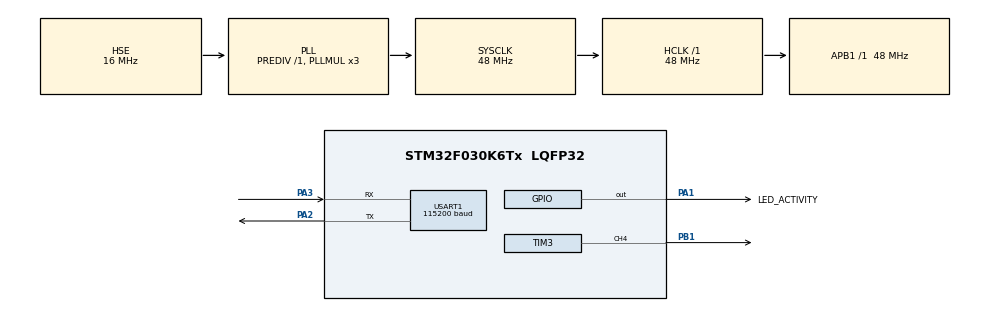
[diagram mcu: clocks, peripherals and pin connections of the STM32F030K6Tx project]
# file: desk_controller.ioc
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Dma.Request0=TIM3_CH4/UP
Dma.Request1=USART1_RX
Dma.Request2=USART1_TX
Dma.TIM3_CH4/UP.0.Direction=DMA_MEMORY_TO_PERIPH
Dma.TIM3_CH4/UP.0.Instance=DMA1_Channel3
Dma.TIM3_CH4/UP.0.MemDataAlignment=DMA_MDATAALIGN_HALFWORD
Dma.TIM3_CH4/UP.0.MemInc=DMA_MINC_ENABLE
Dma.TIM3_CH4/UP.0.Mode=DMA_NORMAL
Dma.TIM3_CH4/UP.0.PeriphDataAlignment=DMA_PDATAALIGN_HALFWORD
Dma.TIM3_CH4/UP.0.PeriphInc=DMA_PINC_DISABLE
Dma.TIM3_CH4/UP.0.Priority=DMA_PRIORITY_LOW
Dma.USART1_RX.1.Direction=DMA_PERIPH_TO_MEMORY
Dma.USART1_RX.1.Instance=DMA1_Channel5
Dma.USART1_RX.1.MemDataAlignment=DMA_MDATAALIGN_BYTE
Dma.USART1_RX.1.MemInc=DMA_MINC_ENABLE
Dma.USART1_RX.1.Mode=DMA_CIRCULAR
Dma.USART1_RX.1.PeriphDataAlignment=DMA_PDATAALIGN_BYTE
Dma.USART1_RX.1.PeriphInc=DMA_PINC_DISABLE
Dma.USART1_RX.1.Priority=DMA_PRIORITY_HIGH
Dma.USART1_TX.2.Direction=DMA_MEMORY_TO_PERIPH
Dma.USART1_TX.2.Instance=DMA1_Channel2
Dma.USART1_TX.2.MemDataAlignment=DMA_MDATAALIGN_BYTE
Dma.USART1_TX.2.MemInc=DMA_MINC_ENABLE
Dma.USART1_TX.2.Mode=DMA_NORMAL
Dma.USART1_TX.2.PeriphDataAlignment=DMA_PDATAALIGN_BYTE
Dma.USART1_TX.2.PeriphInc=DMA_PINC_DISABLE
Dma.USART1_TX.2.Priority=DMA_PRIORITY_LOW
Mcu.Family=STM32F0
Mcu.Name=STM32F030K6Tx
Mcu.Package=LQFP32
NVIC.DMA1_Channel2_3_IRQn=true\:0\:0\:false\:false\:true\:false\:true\:true
NVIC.DMA1_Channel4_5_IRQn=true\:0\:0\:false\:false\:true\:false\:true\:true
PA1.GPIO_Label=LED_ACTIVITY
PA1.Signal=GPIO_Output
PA2.Mode=Asynchronous
PA2.Signal=USART1_TX
PA3.Mode=Asynchronous
PA3.Signal=USART1_RX
PB1.Signal=S_TIM3_CH4
PF0-OSC_IN.Mode=HSE-External-Oscillator
PF0-OSC_IN.Signal=RCC_OSC_IN
PF1-OSC_OUT.Mode=HSE-External-Oscillator
PF1-OSC_OUT.Signal=RCC_OSC_OUT
ProjectManager.HeapSize=0x200
ProjectManager.StackSize=0x400
ProjectManager.TargetToolchain=STM32CubeIDE
RCC.AHBFreq_Value=48000000
RCC.APB1Freq_Value=48000000
RCC.APB1TimFreq_Value=48000000
RCC.HCLKFreq_Value=48000000
RCC.HSE_VALUE=16000000
RCC.PLLMUL=RCC_PLL_MUL3
RCC.PLLSourceVirtual=RCC_PLLSOURCE_HSE
RCC.SYSCLKFreq_VALUE=48000000
RCC.SYSCLKSource=RCC_SYSCLKSOURCE_PLLCLK
RCC.Usart1ClockSelection=RCC_USART1CLKSOURCE_SYSCLK
SH.S_TIM3_CH4.0=TIM3_CH4,PWM Generation4 CH4
TIM3.AutoReloadPreload=TIM_AUTORELOAD_PRELOAD_ENABLE
TIM3.Channel-PWM\ Generation4\ CH4=TIM_CHANNEL_4
TIM3.CounterMode=TIM_COUNTERMODE_UP
TIM3.Period=60-1
TIM3.Prescaler=1-1
USART1.BaudRate=115200
USART1.VirtualMode-Asynchronous=VM_ASYNC
VP_TIM3_VS_ClockSourceINT.Mode=Internal
board=custom

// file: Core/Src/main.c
/* USER CODE BEGIN Header */
/**
 ******************************************************************************
 * @file           : main.c
 * @brief          : Main program body
 ******************************************************************************
 * @attention
 *
 * Copyright (c) 2022 STMicroelectronics.
 * All rights reserved.
 *
 * This software is licensed under terms that can be found in the LICENSE file
 * in the root directory of this software component.
 * If no LICENSE file comes with this software, it is provided AS-IS.
 *
 ******************************************************************************
 */
/* USER CODE END Header */
#include "main.h"

TIM_HandleTypeDef htim3;
DMA_HandleTypeDef hdma_tim3_ch4_up;

UART_HandleTypeDef huart1;
DMA_HandleTypeDef hdma_usart1_rx;
DMA_HandleTypeDef hdma_usart1_tx;

void SystemClock_Config(void);
static void MX_GPIO_Init(void);
static void MX_DMA_Init(void);
static void MX_USART1_UART_Init(void);
static void MX_TIM3_Init(void);

/* USER CODE BEGIN 0 */
#define LEDTOT 46

uint8_t test[45] = { 0 };

uint8_t rgbDataChar[LEDTOT * 3 * 3] = { '0' }; // 3 chars per led + '\n'
uint8_t rgbDataInt[LEDTOT * 3] = { 0 };
uint8_t chill[] = "\n\r-------------\n\r";

uint8_t pwmData[LEDTOT * 24];
uint8_t pwm_high_period = 40; // two thirds of ARR
uint8_t pwm_low_period = 20; // one third of ARR

uint32_t temp = 0;
uint8_t r = 0;
uint8_t g = 0;
uint8_t b = 0;

void HAL_TIM_PWM_PulseFinishedCallback(TIM_HandleTypeDef *htim) {

	HAL_TIM_PWM_Stop_DMA(&htim3, TIM_CHANNEL_4);
}

void updateRGBStrip() {

	for (int j = 0; j < LEDTOT * 3; j += 3) {
		r = rgbDataInt[j];
		g = rgbDataInt[j + 1];
		b = rgbDataInt[j + 2];
		temp = 0; // needed?
		temp = (g << 16) | (r << 8) | b;
		for (int i = 23; i >= 0; i -= 1) {
			if (temp & (1 << i)) {
				pwmData[i] = pwm_high_period;
			} else {
				pwmData[i] = pwm_low_period;
			}

			HAL_GPIO_TogglePin(LED_ACTIVITY_GPIO_Port, LED_ACTIVITY_Pin);
		}
	}

	HAL_TIM_PWM_Start_DMA(&htim3, TIM_CHANNEL_4, (uint32_t*) pwmData,
	LEDTOT * 24);

	//delay(TRESET) TODO
}

void parseRGBData() {

	// decodes rgb values from char to int
	for (int i = 0; i < LEDTOT * 3 * 3; i += 9) {

		// r
		rgbDataInt[i + 0] = (rgbDataChar[i + 0] - '0') * 100;
		rgbDataInt[i + 0] += (rgbDataChar[i + 1] - '0') * 10;
		rgbDataInt[i + 0] += (rgbDataChar[i + 2] - '0');

		// g
		rgbDataInt[i + 1] = (rgbDataChar[i + 3] - '0') * 100;
		rgbDataInt[i + 1] += (rgbDataChar[i + 4] - '0') * 10;
		rgbDataInt[i + 1] += (rgbDataChar[i + 5] - '0');

		// b
		rgbDataInt[i + 2] = (rgbDataChar[i + 6] - '0') * 100;
		rgbDataInt[i + 2] += (rgbDataChar[i + 7] - '0') * 10;
		rgbDataInt[i + 2] += (rgbDataChar[i + 8] - '0');

		/*if (i == 0) {
		 snprintf(test, sizeof(test),
		 "[%c-%c-%c,%c-%c-%c,%c-%c-%c] = [%d-%d-%d]\n\r",
		 rgbDataChar[i + 0], rgbDataChar[i + 1], rgbDataChar[i + 2],
		 rgbDataChar[i + 3], rgbDataChar[i + 4], rgbDataChar[i + 5],
		 rgbDataChar[i + 6], rgbDataChar[i + 7], rgbDataChar[i + 8],
		 rgbDataInt[i + 0], rgbDataInt[i + 1], rgbDataInt[i + 2]);
		 HAL_UART_Transmit(&huart1, test, sizeof(test), 10);
		 }*/
	}
}

void HAL_UART_RxCpltCallback(UART_HandleTypeDef *huart) {
	HAL_UART_Transmit(&huart1, &chill[0], sizeof(chill), 10);
	HAL_UART_Transmit(&huart1, &rgbDataChar[0], sizeof(rgbDataChar), 10);

	parseRGBData();

	updateRGBStrip();
}

/* USER CODE END 0 */

int main(void) {

	/* MCU Configuration--------------------------------------------------------*/

	/* Reset of all peripherals, Initializes the Flash interface and the Systick. */
	HAL_Init();

	/* Configure the system clock */
	SystemClock_Config();

	/* Initialize all configured peripherals */
	MX_GPIO_Init();
	MX_DMA_Init();
	MX_USART1_UART_Init();
	MX_TIM3_Init();
	/* USER CODE BEGIN 2 */

	HAL_UART_Receive_DMA(&huart1, rgbDataChar, LEDTOT * 3 * 3); // init dma
	/* USER CODE END 2 */

	/* Infinite loop */
	while (1) {

	}
}

void SystemClock_Config(void) {
	RCC_OscInitTypeDef RCC_OscInitStruct = { 0 };
	RCC_ClkInitTypeDef RCC_ClkInitStruct = { 0 };
	RCC_PeriphCLKInitTypeDef PeriphClkInit = { 0 };

	/** Initializes the RCC Oscillators according to the specified parameters
	 * in the RCC_OscInitTypeDef structure.
	 */
	RCC_OscInitStruct.OscillatorType = RCC_OSCILLATORTYPE_HSE;
	RCC_OscInitStruct.HSEState = RCC_HSE_ON;
	RCC_OscInitStruct.PLL.PLLState = RCC_PLL_ON;
	RCC_OscInitStruct.PLL.PLLSource = RCC_PLLSOURCE_HSE;
	RCC_OscInitStruct.PLL.PLLMUL = RCC_PLL_MUL3;
	RCC_OscInitStruct.PLL.PREDIV = RCC_PREDIV_DIV1;
	if (HAL_RCC_OscConfig(&RCC_OscInitStruct) != HAL_OK) {
		Error_Handler();
	}

	/** Initializes the CPU, AHB and APB buses clocks
	 */
	RCC_ClkInitStruct.ClockType = RCC_CLOCKTYPE_HCLK | RCC_CLOCKTYPE_SYSCLK
			| RCC_CLOCKTYPE_PCLK1;
	RCC_ClkInitStruct.SYSCLKSource = RCC_SYSCLKSOURCE_PLLCLK;
	RCC_ClkInitStruct.AHBCLKDivider = RCC_SYSCLK_DIV1;
	RCC_ClkInitStruct.APB1CLKDivider = RCC_HCLK_DIV1;

	if (HAL_RCC_ClockConfig(&RCC_ClkInitStruct, FLASH_LATENCY_1) != HAL_OK) {
		Error_Handler();
	}
	PeriphClkInit.PeriphClockSelection = RCC_PERIPHCLK_USART1;
	PeriphClkInit.Usart1ClockSelection = RCC_USART1CLKSOURCE_SYSCLK;
	if (HAL_RCCEx_PeriphCLKConfig(&PeriphClkInit) != HAL_OK) {
		Error_Handler();
	}
}

static void MX_TIM3_Init(void) {

	TIM_ClockConfigTypeDef sClockSourceConfig = { 0 };
	TIM_MasterConfigTypeDef sMasterConfig = { 0 };
	TIM_OC_InitTypeDef sConfigOC = { 0 };

	htim3.Instance = TIM3;
	htim3.Init.Prescaler = 1 - 1;
	htim3.Init.CounterMode = TIM_COUNTERMODE_UP;
	htim3.Init.Period = 60 - 1;
	htim3.Init.ClockDivision = TIM_CLOCKDIVISION_DIV1;
	htim3.Init.AutoReloadPreload = TIM_AUTORELOAD_PRELOAD_ENABLE;
	if (HAL_TIM_Base_Init(&htim3) != HAL_OK) {
		Error_Handler();
	}
	sClockSourceConfig.ClockSource = TIM_CLOCKSOURCE_INTERNAL;
	if (HAL_TIM_ConfigClockSource(&htim3, &sClockSourceConfig) != HAL_OK) {
		Error_Handler();
	}
	if (HAL_TIM_PWM_Init(&htim3) != HAL_OK) {
		Error_Handler();
	}
	sMasterConfig.MasterOutputTrigger = TIM_TRGO_RESET;
	sMasterConfig.MasterSlaveMode = TIM_MASTERSLAVEMODE_DISABLE;
	if (HAL_TIMEx_MasterConfigSynchronization(&htim3, &sMasterConfig)
			!= HAL_OK) {
		Error_Handler();
	}
	sConfigOC.OCMode = TIM_OCMODE_PWM1;
	sConfigOC.Pulse = 0;
	sConfigOC.OCPolarity = TIM_OCPOLARITY_HIGH;
	sConfigOC.OCFastMode = TIM_OCFAST_DISABLE;
	if (HAL_TIM_PWM_ConfigChannel(&htim3, &sConfigOC, TIM_CHANNEL_4)
			!= HAL_OK) {
		Error_Handler();
	}
	HAL_TIM_MspPostInit(&htim3);

}

static void MX_USART1_UART_Init(void) {

	huart1.Instance = USART1;
	huart1.Init.BaudRate = 115200;
	huart1.Init.WordLength = UART_WORDLENGTH_8B;
	huart1.Init.StopBits = UART_STOPBITS_1;
	huart1.Init.Parity = UART_PARITY_NONE;
	huart1.Init.Mode = UART_MODE_TX_RX;
	huart1.Init.HwFlowCtl = UART_HWCONTROL_NONE;
	huart1.Init.OverSampling = UART_OVERSAMPLING_16;
	huart1.Init.OneBitSampling = UART_ONE_BIT_SAMPLE_DISABLE;
	huart1.AdvancedInit.AdvFeatureInit = UART_ADVFEATURE_NO_INIT;
	if (HAL_UART_Init(&huart1) != HAL_OK) {
		Error_Handler();
	}

}

static void MX_DMA_Init(void) {

	/* DMA controller clock enable */
	__HAL_RCC_DMA1_CLK_ENABLE();

	/* DMA interrupt init */
	/* DMA1_Channel2_3_IRQn interrupt configuration */
	HAL_NVIC_SetPriority(DMA1_Channel2_3_IRQn, 0, 0);
	HAL_NVIC_EnableIRQ(DMA1_Channel2_3_IRQn);
	/* DMA1_Channel4_5_IRQn interrupt configuration */
	HAL_NVIC_SetPriority(DMA1_Channel4_5_IRQn, 0, 0);
	HAL_NVIC_EnableIRQ(DMA1_Channel4_5_IRQn);

}

static void MX_GPIO_Init(void) {
	GPIO_InitTypeDef GPIO_InitStruct = { 0 };

	/* GPIO Ports Clock Enable */
	__HAL_RCC_GPIOF_CLK_ENABLE();
	__HAL_RCC_GPIOA_CLK_ENABLE();
	__HAL_RCC_GPIOB_CLK_ENABLE();

	/*Configure GPIO pin Output Level */
	HAL_GPIO_WritePin(LED_ACTIVITY_GPIO_Port, LED_ACTIVITY_Pin, GPIO_PIN_RESET);

	/*Configure GPIO pin : LED_ACTIVITY_Pin */
	GPIO_InitStruct.Pin = LED_ACTIVITY_Pin;
	GPIO_InitStruct.Mode = GPIO_MODE_OUTPUT_PP;
	GPIO_InitStruct.Pull = GPIO_NOPULL;
	GPIO_InitStruct.Speed = GPIO_SPEED_FREQ_LOW;
	HAL_GPIO_Init(LED_ACTIVITY_GPIO_Port, &GPIO_InitStruct);

}

void Error_Handler(void) {
	__disable_irq();
	while (1) {
	}
}
